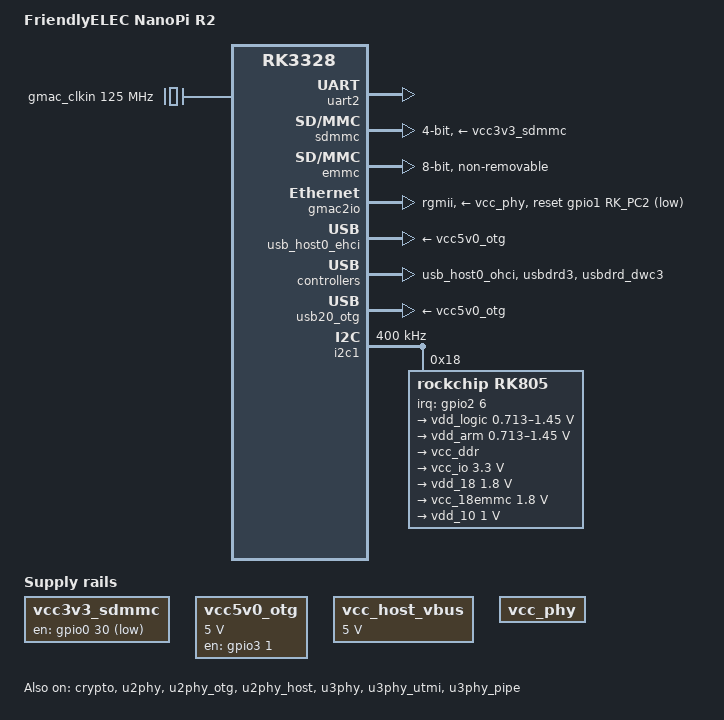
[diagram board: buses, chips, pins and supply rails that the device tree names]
/*
 * (C) Copyright 2018 FriendlyElec Computer Tech. Co., Ltd.
 * (http://www.friendlyarm.com)
 *
 * (C) Copyright 2016 Rockchip Electronics Co., Ltd
 *
 * SPDX-License-Identifier:     GPL-2.0+
 */

/dts-v1/;
#include "rk3328.dtsi"
#include "rk3328-u-boot.dtsi"
#include "rk3328-sdram-ddr3-666.dtsi"
#include <dt-bindings/input/input.h>

/ {
	model = "FriendlyELEC NanoPi R2";
	compatible = "friendlyelec,nanopi_r2", "rockchip,rk3328";

	gmac_clkin: external-gmac-clock {
		compatible = "fixed-clock";
		clock-frequency = <125000000>;
		clock-output-names = "gmac_clkin";
		#clock-cells = <0>;
	};

	efuse: efuse@ff260000 {
		compatible = "rockchip,rk3328-efuse";
		reg = <0x0 0xff260000 0x0 0x50>;
		#address-cells = <1>;
		#size-cells = <1>;
		clocks = <&cru SCLK_EFUSE>;
		clock-names = "pclk_efuse";
		rockchip,efuse-size = <0x20>;

		/* Data cells */
		efuse_id: id@7 {
			reg = <0x07 0x10>;
		};
		cpu_leakage: cpu-leakage@17 {
			reg = <0x17 0x1>;
		};
		logic_leakage: logic-leakage@19 {
			reg = <0x19 0x1>;
		};
		efuse_cpu_version: cpu-version@1a {
			reg = <0x1a 0x1>;
			bits = <3 3>;
		};
	};

	vcc3v3_sdmmc: sdmmc-pwren {
		compatible = "regulator-fixed";
		regulator-name = "vcc3v3";
		gpio = <&gpio0 30 GPIO_ACTIVE_LOW>;
		regulator-always-on;
		regulator-boot-on;
	};

	vcc5v0_otg: vcc5v0-otg-drv {
		compatible = "regulator-fixed";
		enable-active-high;
		regulator-name = "vcc5v0_otg";
		gpio = <&gpio3 1 GPIO_ACTIVE_HIGH>;
		regulator-min-microvolt = <5000000>;
		regulator-max-microvolt = <5000000>;
	};

	vcc_host_vbus: host-vbus-regulator {
		compatible = "regulator-fixed";
		regulator-name = "vcc_host_vbus";
		regulator-always-on;
		regulator-boot-on;
		regulator-min-microvolt = <5000000>;
		regulator-max-microvolt = <5000000>;
	};

	vcc_phy: vcc-phy-regulator {
		compatible = "regulator-fixed";
		regulator-name = "vcc_phy";
		regulator-always-on;
		regulator-boot-on;
	};
};

&uart2 {
	status = "okay";
};

&crypto {
	status = "okay";
};

&sdmmc {
	bus-width = <4>;
	cap-mmc-highspeed;
	cap-sd-highspeed;
	card-detect-delay = <200>;
	disable-wp;
	num-slots = <1>;
	pinctrl-names = "default";
	pinctrl-0 = <&sdmmc0_clk>, <&sdmmc0_cmd>, <&sdmmc0_dectn>, <&sdmmc0_bus4>;
	vmmc-supply = <&vcc3v3_sdmmc>;
	status = "okay";
};

&emmc {
	bus-width = <8>;
	cap-mmc-highspeed;
	supports-emmc;
	disable-wp;
	non-removable;
	num-slots = <1>;
	pinctrl-names = "default";
	pinctrl-0 = <&emmc_clk &emmc_cmd &emmc_bus8>;
	status = "okay";
};

&gmac2io {
	phy-supply = <&vcc_phy>;
	phy-mode = "rgmii";
	clock_in_out = "input";
	snps,reset-gpio = <&gpio1 RK_PC2 GPIO_ACTIVE_LOW>;
	snps,reset-active-low;
	snps,reset-delays-us = <0 10000 50000>;
	assigned-clocks = <&cru SCLK_MAC2IO>, <&cru SCLK_MAC2IO_EXT>;
	assigned-clock-parents = <&gmac_clkin>, <&gmac_clkin>;
	pinctrl-names = "default";
	pinctrl-0 = <&rgmiim1_pins>;
	tx_delay = <0x26>;
	rx_delay = <0x11>;
	status = "okay";
};

&u2phy {
	status = "okay";
};

&u2phy_otg {
	status = "okay";
};

&u2phy_host {
	status = "okay";
};

&u3phy {
	vbus-supply = <&vcc_host_vbus>;
	status = "okay";
};

&u3phy_utmi {
	status = "okay";
};

&u3phy_pipe {
	status = "okay";
};

&usb_host0_ehci {
	vbus-supply = <&vcc5v0_otg>;
	status = "okay";
};

&usb_host0_ohci {
	status = "okay";
};

&usb20_otg {
	vbus-supply = <&vcc5v0_otg>;
	status = "okay";
};

&usbdrd3 {
	status = "okay";
};

&usbdrd_dwc3 {
	status = "okay";
};

&i2c1 {
	clock-frequency = <400000>;
	i2c-scl-rising-time-ns = <168>;
	i2c-scl-falling-time-ns = <4>;
	status = "okay";

	rk805: pmic@18 {
		compatible = "rockchip,rk805";
		status = "okay";
		reg = <0x18>;
		interrupt-parent = <&gpio2>;
		interrupts = <6 IRQ_TYPE_LEVEL_LOW>;
		pinctrl-names = "default";
		pinctrl-0 = <&pmic_int_l>;
		rockchip,system-power-controller;
		wakeup-source;
		gpio-controller;
		#gpio-cells = <2>;
		#clock-cells = <1>;
		clock-output-names = "xin32k", "rk805-clkout2";

		pwrkey {
			status = "okay";
		};

		regulators {
			vdd_logic: DCDC_REG1 {
				regulator-name = "vdd_logic";
				regulator-min-microvolt = <712500>;
				regulator-max-microvolt = <1450000>;
				regulator-ramp-delay = <6001>;
				regulator-boot-on;
				regulator-always-on;
				regulator-state-mem {
					regulator-on-in-suspend;
					regulator-suspend-microvolt = <1000000>;
				};
			};

			vdd_arm: DCDC_REG2 {
				regulator-name = "vdd_arm";
				regulator-min-microvolt = <712500>;
				regulator-max-microvolt = <1450000>;
				regulator-ramp-delay = <6001>;
				regulator-boot-on;
				regulator-always-on;
				regulator-state-mem {
					regulator-on-in-suspend;
					regulator-suspend-microvolt = <1000000>;
				};
			};

			vcc_ddr: DCDC_REG3 {
				regulator-name = "vcc_ddr";
				regulator-boot-on;
				regulator-always-on;
				regulator-state-mem {
					regulator-on-in-suspend;
				};
			};

			vcc_io: DCDC_REG4 {
				regulator-name = "vcc_io";
				regulator-min-microvolt = <3300000>;
				regulator-max-microvolt = <3300000>;
				regulator-boot-on;
				regulator-always-on;
				regulator-state-mem {
					regulator-on-in-suspend;
					regulator-suspend-microvolt = <3300000>;
				};
			};

			vdd_18: LDO_REG1 {
				regulator-name = "vdd_18";
				regulator-min-microvolt = <1800000>;
				regulator-max-microvolt = <1800000>;
				regulator-boot-on;
				regulator-always-on;
				regulator-state-mem {
					regulator-on-in-suspend;
					regulator-suspend-microvolt = <1800000>;
				};
			};

			vcc_18emmc: LDO_REG2 {
				regulator-name = "vcc_18emmc";
				regulator-min-microvolt = <1800000>;
				regulator-max-microvolt = <1800000>;
				regulator-boot-on;
				regulator-always-on;
				regulator-state-mem {
					regulator-on-in-suspend;
					regulator-suspend-microvolt = <1800000>;
				};
			};

			vdd_10: LDO_REG3 {
				regulator-name = "vdd_10";
				regulator-min-microvolt = <1000000>;
				regulator-max-microvolt = <1000000>;
				regulator-boot-on;
				regulator-always-on;
				regulator-state-mem {
					regulator-on-in-suspend;
					regulator-suspend-microvolt = <1000000>;
				};
			};
		};
	};
};

&pinctrl {
	pmic {
		pmic_int_l: pmic-int-l {
		rockchip,pins =
			<2 RK_PA6 RK_FUNC_GPIO &pcfg_pull_up>;
		};
	};
};

